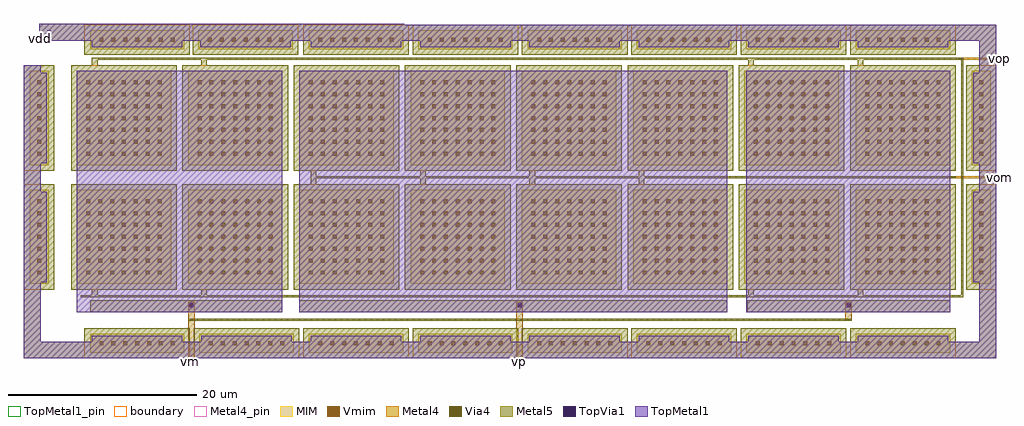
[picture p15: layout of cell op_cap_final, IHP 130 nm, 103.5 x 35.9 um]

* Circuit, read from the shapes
.subckt op_cap_final vdd vm vom vop vp
XC1 vdd vdd cap_cmim w=2u l=10u m=4
XC2 vm vop cap_cmim w=10u l=10u m=8
XC3 vdd vdd cap_cmim w=10u l=2u m=16
XC4 vp vom cap_cmim w=10u l=10u m=8
.ends

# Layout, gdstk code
from math import pi, radians
import gdstk
lib = gdstk.Library(unit=1e-6, precision=1e-09)
def R(c, l, rs):  # rectangles x0, y0, x1, y1
    for r in rs: c.add(gdstk.rectangle(r[:2], r[2:], *l))
def A(c, l, x, y, w, h, nx, ny, dx, dy):  # array of equal rectangles
    R(c, l, [(x+i*dx, y+j*dy, x+i*dx+w, y+j*dy+h) for i in range(nx) for j in range(ny)])
MIM = (36, 0)
Metal4 = (50, 0)
Metal4_pin = (50, 2)
Via4 = (66, 0)
Metal5 = (67, 0)
TopVia1 = (125, 0)
TopMetal1 = (126, 0)
TopMetal1_pin = (126, 2)
Vmim = (129, 0)
boundary = (189, 4)

cap_cmim_mv9cwz = lib.new_cell('cap_cmim_MV9CWZ')
R(cap_cmim_mv9cwz, MIM, [(-5,-1,5,1)])
R(cap_cmim_mv9cwz, Metal5, [(-5.6,-1.6,5.6,1.6)])
R(cap_cmim_mv9cwz, TopMetal1, [(-4.8,-0.82,4.8,0.82)])
A(cap_cmim_mv9cwz, Vmim, -3.99, -0.21, 0.42, 0.42, 7, 1, 1.26, 0)
R(cap_cmim_mv9cwz, boundary, [(-5.6,-1.6,5.6,1.6)])
cap_cmim_mv9cwz.add(gdstk.Label('C1', (0,0), layer=126, texttype=25))
cap_cmim_mv9cwz.add(gdstk.Label('C2', (5.1,0), layer=67, texttype=25))

cap_cmim_rcjhdk = lib.new_cell('cap_cmim_RCJHDK')
R(cap_cmim_rcjhdk, MIM, [(-5,-5,5,5)])
R(cap_cmim_rcjhdk, Metal5, [(-5.6,-5.6,5.6,5.6)])
R(cap_cmim_rcjhdk, TopMetal1, [(-4.8,-4.8,4.8,4.8)])
A(cap_cmim_rcjhdk, Vmim, -3.99, -3.99, 0.42, 0.42, 7, 7, 1.26, 1.26)
R(cap_cmim_rcjhdk, boundary, [(-5.6,-5.6,5.6,5.6)])
cap_cmim_rcjhdk.add(gdstk.Label('C1', (0,0), layer=126, texttype=25))
cap_cmim_rcjhdk.add(gdstk.Label('C2', (5.1,0), layer=67, texttype=25))

op_cap_final = lib.new_cell('op_cap_final')
R(op_cap_final, Metal4, [(11,-20.1,11.7,-13.7), (45.8,-20.1,46.5,-13.7), (80.7,-15.7,81.4,-13.7), (91.9,-0.6,97.1,-0.4), (92.7,12,97.1,12.2)])
R(op_cap_final, Metal4_pin, [(11.2,-20.1,11.4,-19.9), (46,-20.1,46.2,-19.9), (96.9,-0.6,97.1,-0.4), (96.9,12,97.1,12.2)])
R(op_cap_final, Via4, [(11.305,-15.695,11.495,-15.505), (80.905,-15.695,81.095,-15.505), (11.255,-14.145,11.445,-13.955), (46.055,-14.145,46.245,-13.955), (80.955,-14.145,81.145,-13.955), (92.105,-0.595,92.295,-0.405), (92.905,12.005,93.095,12.195)])
A(op_cap_final, Metal5, 24, -2, 0.6, 1.4, 4, 2, 11.6, 1.6)
R(op_cap_final, Metal5, [(-6.4,-19.7,96.7,-17.9), (-6.4,-17.9,-4.6,11.4), (94.9,-17.9,96.7,14), (11,-15.7,81.4,-15.5), (0.6,-14.8,21,-13.5), (22.8,-14.8,68.2,-13.5), (70.3,-14.8,91.8,-13.5), (-0.4,-13.2,93.2,-13), (0.8,-13,1.4,-11.6), (12.4,-13,13,-11.6), (70.4,-13,71,-11.6), (82,-13,82.6,-11.6), (93,-13,93.2,12), (24,-0.6,92.4,-0.4), (0.8,10.6,1.4,12), (12.4,10.6,13,12), (70.4,10.6,71,12), (82,10.6,82.6,12), (0.8,12,93.2,12.2), (-4.8,14,96.7,15.7), (-4.8,15.7,33.9,15.8)])
R(op_cap_final, TopVia1, [(11.14,-14.26,11.56,-13.84), (45.94,-14.26,46.36,-13.84), (80.84,-14.26,81.26,-13.84), (-3.96,14.69,-3.54,15.11)])
R(op_cap_final, TopMetal1, [(-6.4,-19.7,96.7,-17.9), (-6.4,-17.9,-4.6,11.4), (94.9,-17.9,96.7,14), (-0.8,-14.8,21,10.8), (22.8,-14.8,68.2,10.8), (70.2,-14.8,91.8,10.8), (-4.8,14,96.7,15.7), (-4.8,15.7,33.9,15.8)])
R(op_cap_final, TopMetal1_pin, [(-4.8,14,-4.4,14.4)])
op_cap_final.add(gdstk.Reference(cap_cmim_mv9cwz, (5.6,-18.1)))
op_cap_final.add(gdstk.Reference(cap_cmim_mv9cwz, (-4.8,-6.8), rotation=3*pi/2))
op_cap_final.add(gdstk.Reference(cap_cmim_rcjhdk, (4.2,-6.8)))
op_cap_final.add(gdstk.Reference(cap_cmim_mv9cwz, (17.2,-18.1)))
op_cap_final.add(gdstk.Reference(cap_cmim_rcjhdk, (16,-6.8)))
op_cap_final.add(gdstk.Reference(cap_cmim_mv9cwz, (28.8,-18.1)))
op_cap_final.add(gdstk.Reference(cap_cmim_rcjhdk, (27.8,-6.8)))
op_cap_final.add(gdstk.Reference(cap_cmim_mv9cwz, (40.4,-18.1)))
op_cap_final.add(gdstk.Reference(cap_cmim_rcjhdk, (39.6,-6.8)))
op_cap_final.add(gdstk.Reference(cap_cmim_mv9cwz, (52,-18.1)))
op_cap_final.add(gdstk.Reference(cap_cmim_rcjhdk, (51.4,-6.8)))
op_cap_final.add(gdstk.Reference(cap_cmim_mv9cwz, (63.6,-18.1)))
op_cap_final.add(gdstk.Reference(cap_cmim_rcjhdk, (63.2,-6.8)))
op_cap_final.add(gdstk.Reference(cap_cmim_mv9cwz, (75.2,-18.1)))
op_cap_final.add(gdstk.Reference(cap_cmim_rcjhdk, (75,-6.8)))
op_cap_final.add(gdstk.Reference(cap_cmim_mv9cwz, (86.8,-18.1)))
op_cap_final.add(gdstk.Reference(cap_cmim_rcjhdk, (86.8,-6.8)))
op_cap_final.add(gdstk.Reference(cap_cmim_mv9cwz, (95.1,-6.8), rotation=3*pi/2))
op_cap_final.add(gdstk.Reference(cap_cmim_mv9cwz, (-4.8,5.8), rotation=3*pi/2))
op_cap_final.add(gdstk.Reference(cap_cmim_rcjhdk, (4.2,5.8)))
op_cap_final.add(gdstk.Reference(cap_cmim_rcjhdk, (16,5.8)))
op_cap_final.add(gdstk.Reference(cap_cmim_rcjhdk, (27.8,5.8)))
op_cap_final.add(gdstk.Reference(cap_cmim_rcjhdk, (39.6,5.8)))
op_cap_final.add(gdstk.Reference(cap_cmim_rcjhdk, (51.4,5.8)))
op_cap_final.add(gdstk.Reference(cap_cmim_rcjhdk, (63.2,5.8)))
op_cap_final.add(gdstk.Reference(cap_cmim_rcjhdk, (75,5.8)))
op_cap_final.add(gdstk.Reference(cap_cmim_rcjhdk, (86.8,5.8)))
op_cap_final.add(gdstk.Reference(cap_cmim_mv9cwz, (95.1,5.8), rotation=3*pi/2))
op_cap_final.add(gdstk.Reference(cap_cmim_mv9cwz, (5.6,14.1)))
op_cap_final.add(gdstk.Reference(cap_cmim_mv9cwz, (17.1,14.1)))
op_cap_final.add(gdstk.Reference(cap_cmim_mv9cwz, (28.8,14.1)))
op_cap_final.add(gdstk.Reference(cap_cmim_mv9cwz, (40.4,14.1)))
op_cap_final.add(gdstk.Reference(cap_cmim_mv9cwz, (52,14.1)))
op_cap_final.add(gdstk.Reference(cap_cmim_mv9cwz, (63.6,14.1)))
op_cap_final.add(gdstk.Reference(cap_cmim_mv9cwz, (75.2,14.1)))
op_cap_final.add(gdstk.Reference(cap_cmim_mv9cwz, (86.8,14.1)))
op_cap_final.add(gdstk.Label('vdd', (-4.6,14.2), layer=126, texttype=25))
op_cap_final.add(gdstk.Label('vop', (97,12.1), layer=50, texttype=25))
op_cap_final.add(gdstk.Label('vom', (97,-0.5), layer=50, texttype=25))
op_cap_final.add(gdstk.Label('vm', (11.3,-20), layer=50, texttype=25))
op_cap_final.add(gdstk.Label('vp', (46.1,-20), layer=50, texttype=25))

lib.write_gds('op_cap_final.gds')
